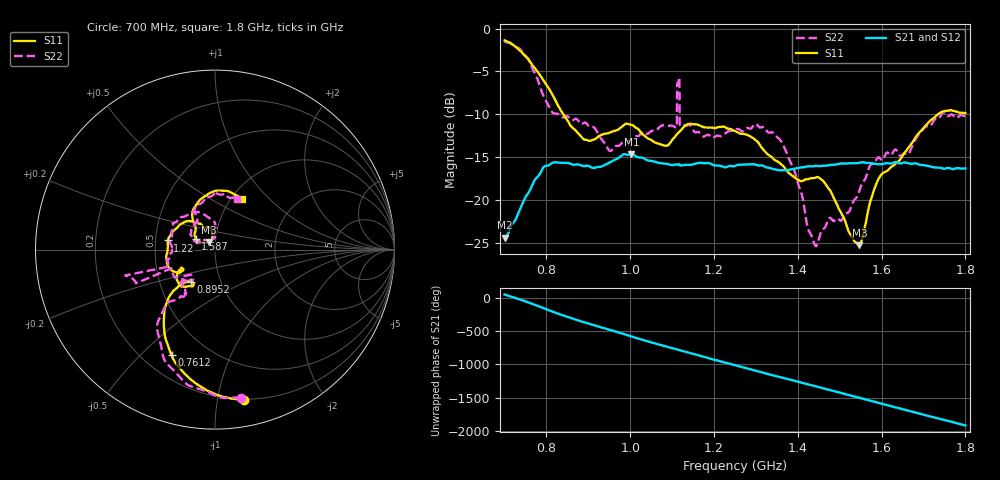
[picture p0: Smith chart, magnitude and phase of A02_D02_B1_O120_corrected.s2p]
! Created with skrf 1.9.0 (http://scikit-rf.org).
# Hz S RI R 50.0
!freq ReS11 ImS11 ReS21 ImS21 ReS12 ImS12 ReS22 ImS22
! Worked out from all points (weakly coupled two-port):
!   1601 points, 700 MHz to 1.8 GHz, reference 50 ohm
!   highest |S21| = -14.65 dB at 1.002 GHz (marker M1); lowest = -24.4 dB at 700.7 MHz (marker M2)
!   lowest |S11| = -25.3 dB at 1.547 GHz (marker M3), VSWR 1.11, Z = 46.5 + j3.93 ohm
!   |S11| at or under -10 dB: 839.8 MHz to 1.735 GHz (894.8 MHz wide, 69.5 % of centre)
!   |S22| runs from -25.4 to -1.5 dB; largest |S21 - S12| = 0.0035
!   S11 on the Smith chart (normalised r, x): 700 MHz: 0.20, -1.19; 761.2 MHz: 0.32, -0.62; 895.2 MHz: 0.72, -0.27; 1.22 GHz: 0.58, +0.06; 1.587 GHz: 0.80, +0.10; 1.8 GHz: 1.12, +0.71
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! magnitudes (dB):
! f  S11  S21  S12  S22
! 700 MHz  -1.4  -24.4  -24.2  -1.5
! 700.7 MHz  -1.4  -24.4  -24.1  -1.5
! 761.2 MHz  -3.9  -18.8  -18.7  -4.0
! 813.4 MHz  -7.7  -15.7  -15.7  -9.8
! 883.6 MHz  -12.7  -16.0  -15.9  -11.2
! 895.2 MHz  -13.0  -16.0  -16.1  -11.1
! 950.9 MHz  -12.1  -15.6  -15.6  -14.3
! 1.002 GHz  -11.2  -14.7  -14.8  -12.9
! 1.067 GHz  -13.4  -15.7  -15.6  -11.6
! 1.106 GHz  -12.7  -15.9  -15.9  -11.5
! 1.117 GHz  -12.1  -15.8  -15.8  -5.7
! 1.123 GHz  -11.7  -16.0  -15.9  -11.1
! 1.22 GHz  -11.4  -16.1  -16.1  -12.5
! 1.25 GHz  -12.0  -16.0  -15.9  -11.8
! 1.359 GHz  -15.8  -16.5  -16.5  -13.0
! 1.434 GHz  -17.5  -16.1  -16.1  -24.3
! 1.547 GHz  -25.3  -15.7  -15.6  -18.9
! 1.587 GHz  -18.2  -15.8  -15.8  -15.3
! 1.617 GHz  -16.4  -15.7  -15.7  -14.6
! 1.663 GHz  -14.0  -15.7  -15.7  -14.7
! 1.736 GHz  -9.9  -16.2  -16.3  -10.5
! 1.8 GHz  -9.9  -16.3  -16.3  -10.2
